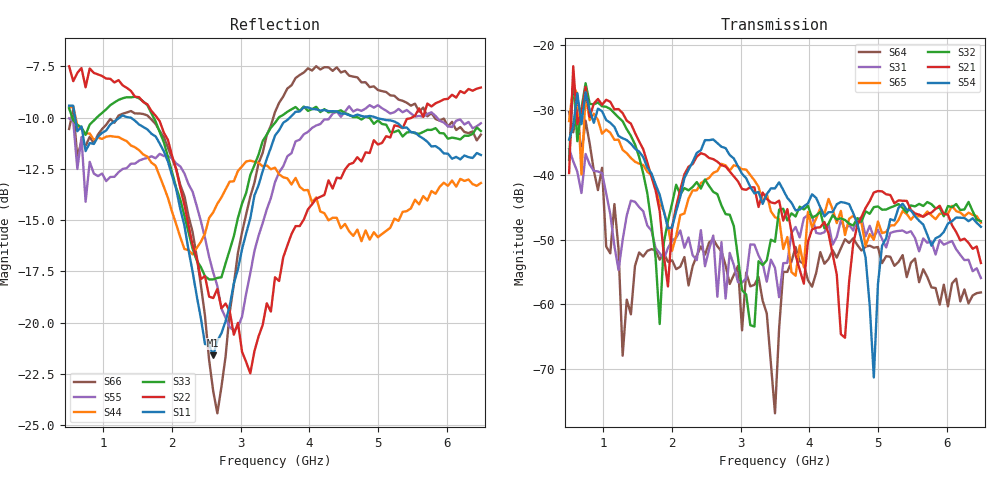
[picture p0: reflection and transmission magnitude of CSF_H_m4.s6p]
!Keysight Technologies,M9804A,MY58100912,A.14.10.03
!Date: Thursday, April 27, 2023 10:28:33
!Correction: S11(C  6-Port  )
!S12(C  6-Port  )
!S13(C  6-Port  )
!S14(C  6-Port  )
!S15(C  6-Port  )
!S16(C  6-Port  )
!S21(C  6-Port  )
!S22(C  6-Port  )
!S23(C  6-Port  )
!S24(C  6-Port  )
!S25(C  6-Port  )
!S26(C  6-Port  )
!S31(C  6-Port  )
!S32(C  6-Port  )
!S33(C  6-Port  )
!S34(C  6-Port  )
!S35(C  6-Port  )
!S36(C  6-Port  )
!S41(C  6-Port  )
!S42(C  6-Port  )
!S43(C  6-Port  )
!S44(C  6-Port  )
!S45(C  6-Port  )
!S46(C  6-Port  )
!S51(C  6-Port  )
!S52(C  6-Port  )
!S53(C  6-Port  )
!S54(C  6-Port  )
!S55(C  6-Port  )
!S56(C  6-Port  )
!S61(C  6-Port  )
!S62(C  6-Port  )
!S63(C  6-Port  )
!S64(C  6-Port  )
!S65(C  6-Port  )
!S66(C  6-Port  )
!S6P File: Measurement: :
# Hz S  RI  R 50
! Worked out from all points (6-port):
!   101 points, 500 MHz to 6.5 GHz, reference 50 ohm
!   strongest paths, dB at 500 MHz, 2 GHz, 3.5 GHz, 5 GHz, 6.5 GHz:
!     S54: -34.6, -48.1, -42.1, -56.9, -48.0
!     S21: -39.7, -48.1, -44.4, -42.5, -53.6
!     S32: -37.7, -44.5, -50.3, -44.9, -47.2
!     S65: -31.7, -51.7, -46.6, -47.2, -47.4
!     S31: -36.0, -50.1, -54.4, -48.5, -55.9
!     S64: -30.3, -53.2, -76.8, -51.2, -58.2
!   lowest |S11| = -21.6 dB at 2.6 GHz (marker M1), VSWR 1.18, Z = 42.6 + j2.05 ohm
!   |S11| at or under -10 dB: 588.1 MHz to 1.235 GHz (646.8 MHz wide, 71 % of centre); 1.4 GHz to 3.715 GHz (2.315 GHz wide, 90.5 % of centre); 4.974 GHz to end of sweep
